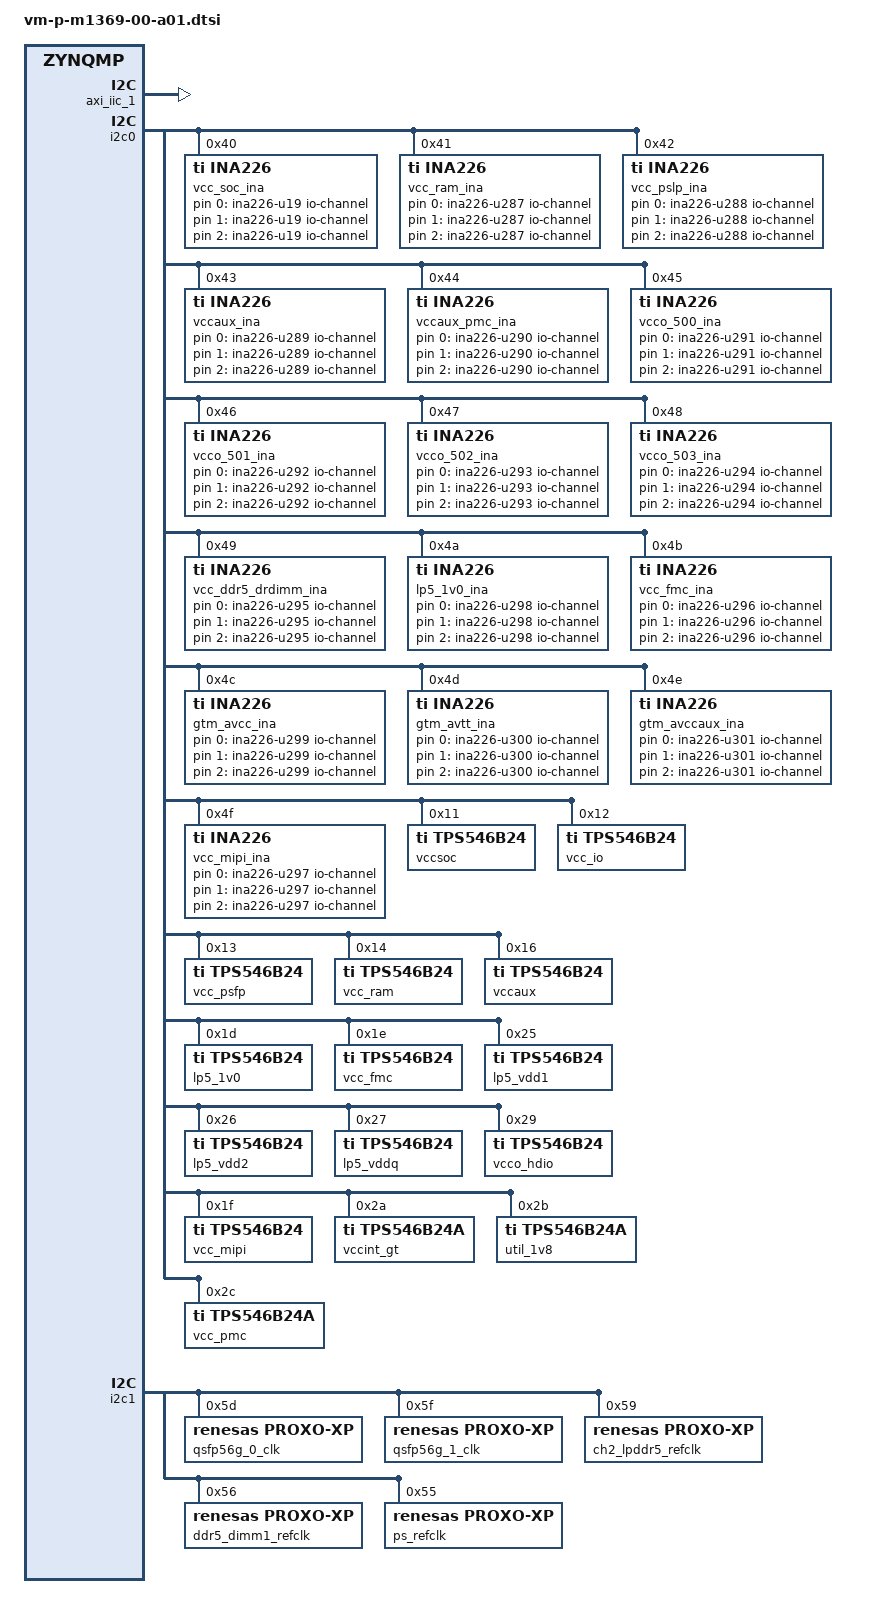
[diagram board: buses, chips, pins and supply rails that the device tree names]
// SPDX-License-Identifier: GPL-2.0
/*
 * dts file for Xilinx ZynqMP VM-P-M1369-00
 *
 * Copyright (C) 2024, Advanced Micro Devices, Inc.
 *
 * Michal Simek <michal.simek@amd.com>
 */

#include <dt-bindings/gpio/gpio.h>

/dts-v1/;
/plugin/;

/ {
    compatible = "xlnx,zynqmp-sc-vm-p-m1369-revA",
		     "xlnx,zynqmp-sc-vm-p-m1369", "xlnx,zynqmp";

    fragment@0 {
        target = <&fpga_full>;
        overlay0: __overlay__ {
            #address-cells = <2>;
            #size-cells = <2>;
	    firmware-name = "sc_l20_vnc.bit.bin";
	    resets = <&zynqmp_reset 116>;
        };
    };
    fragment@1 {
        target = <&amba>;
        overlay1: __overlay__ {
	    #address-cells = <2>;
	    #size-cells = <2>;
	    afi0: afi0 {
                compatible = "xlnx,afi-fpga";
                config-afi = < 0 0>, <1 0>, <2 0>, <3 0>, <4 0>, <5 0>, <6 0>, <7 0>, <8 0>, <9 0>, <10 0>, <11 0>, <12 0>, <13 0>, <14 0xa00>, <15 0x000>;
            };
            clocking0: clocking0 {
                #clock-cells = <0>;
                assigned-clock-rates = <96968727>;
                assigned-clocks = <&zynqmp_clk 71>;
                clock-output-names = "fabric_clk";
                clocks = <&zynqmp_clk 71>;
                compatible = "xlnx,fclk";
            };
            clocking1: clocking1 {
                #clock-cells = <0>;
                assigned-clock-rates = <266664000>;
                assigned-clocks = <&zynqmp_clk 72>;
                clock-output-names = "fabric_clk";
                clocks = <&zynqmp_clk 72>;
                compatible = "xlnx,fclk";
            };
        };
    };
    fragment@2 {
        target = <&amba>;
        overlay2: __overlay__ {
            #address-cells = <2>;
	    #size-cells = <2>;
	    axi_gpio_0: gpio@80020000 {
                #gpio-cells = <2>;
                #interrupt-cells = <2>;
                clock-names = "s_axi_aclk";
                clocks = <&zynqmp_clk 71>;
                compatible = "xlnx,axi-gpio-2.0", "xlnx,xps-gpio-1.00.a";
                gpio-controller ;
                interrupt-controller ;
                interrupt-names = "ip2intc_irpt";
                interrupt-parent = <&gic>;
                interrupts = <0 94 4>;
                reg = <0x0 0x80020000 0x0 0x10000>;
                xlnx,all-inputs = <0x0>;
                xlnx,all-inputs-2 = <0x0>;
                xlnx,all-outputs = <0x0>;
                xlnx,all-outputs-2 = <0x0>;
                xlnx,dout-default = <0x00000000>;
                xlnx,dout-default-2 = <0x00000000>;
                xlnx,gpio-width = <0x4>;
                xlnx,gpio2-width = <0x20>;
                xlnx,interrupt-present = <0x1>;
                xlnx,is-dual = <0x0>;
                xlnx,tri-default = <0xFFFFFFFF>;
                xlnx,tri-default-2 = <0xFFFFFFFF>;
		gpio-line-names = "SYSCTLR_GPIO0", "SYSCTLR_GPIO1",
					"SYSCTLR_GPIO2", "SYSCTLR_GPIO3";
            };
            axi_gpio_1: gpio@80030000 {
                #gpio-cells = <2>;
                #interrupt-cells = <2>;
                clock-names = "s_axi_aclk";
                clocks = <&zynqmp_clk 71>;
                compatible = "xlnx,axi-gpio-2.0", "xlnx,xps-gpio-1.00.a";
                gpio-controller ;
                interrupt-controller ;
                interrupt-names = "ip2intc_irpt";
                interrupt-parent = <&gic>;
                interrupts = <0 96 4>;
                reg = <0x0 0x80030000 0x0 0x10000>;
                xlnx,all-inputs = <0x0>;
                xlnx,all-inputs-2 = <0x0>;
                xlnx,all-outputs = <0x0>;
                xlnx,all-outputs-2 = <0x0>;
                xlnx,dout-default = <0x00000000>;
                xlnx,dout-default-2 = <0x00000000>;
                xlnx,gpio-width = <0x20>;
                xlnx,gpio2-width = <0x20>;
                xlnx,interrupt-present = <0x1>;
                xlnx,is-dual = <0x0>;
                xlnx,tri-default = <0xFFFFFFFF>;
                xlnx,tri-default-2 = <0xFFFFFFFF>;
		gpio-line-names = "SYSCTLR_UCD90320_RESET_B", /* 0 */
					"SYSCTLR_UCD90320_CTLR_B", /* 1 */
					"SYSCTLR_MAIN_SW_CTRL", /* 2 */
					"SYSCTLR_PMBUS_ALERT", /* 3 */
					"SYSCTLR_VCC0V85_TG", /* 4 */
					"SYSCTLR_VCCINT_EN", /* 5 */
					"SYSCTLR_VCC_SOC_EN", /* 6 */
					"SYSCTLR_VCC_RAM_EN", /* 7 */
					"SYSCTLR_VCC_PSFP_EN", /* 8 */
					"SYSCTLR_VCC_PSLP_EN", /* 9 */
					"SYSCTLR_VCC_IO_EN", /* 10 */
					"SYSCTLR_VCCAUX_EN", /* 11 */
					"SYSCTLR_VCCAUX_PMC_EN", /* 12 */
					"SYSCTLR_VCCO_500_EN", /* 13 */
					"SYSCTLR_VCCO_501_EN", /* 14 */
					"SYSCTLR_VCCO_502_EN", /* 15 */
					"SYSCTLR_VCCO_503_EN", /* 16 */
					"SYSCTLR_VCC_DDR5_RDIMM_1V1_EN", /* 17 */
					"SYSCTLR_LP5_1V0_VCCO_EN", /* 18 */
					"SYSCTLR_GTM_AVCCAUX_EN", /* 19 */
					"SYSCTLR_LP5_VDD1_1V8_EN", /* 20 */
					"SYSCTLR_LP5_VDD2_1V05_EN", "", /* 21,22 */
					"SYSCTLR_GTM_AVCC_EN", /* 23 */
					"SYSCTLR_GTM_AVTT_EN", /* 24 */
					"SYSCTLR_LP5_VDDQ_0V5_EN", /* 25 */
					"SYSCTLR_VCC_PMC_EN", /* 26 */
					"SYSCTLR_VCCINT_GT_EN", /* 27 */
					"SYSCTLR_VCC_FMC_EN", /* 28 */
					"SYSCTLR_UTIL_1V8_EN", /* 29 */
					"SYSCTLR_VCCO_HDIO_EN", /* 30 */
					"SYSCTLR_VCC_MIPI_EN"; /* 31 */
            };
	    axi_gpio_2: gpio@80040000 {
                #gpio-cells = <2>;
                #interrupt-cells = <2>;
                clock-names = "s_axi_aclk";
                clocks = <&zynqmp_clk 71>;
                compatible = "xlnx,axi-gpio-2.0", "xlnx,xps-gpio-1.00.a";
                gpio-controller ;
                interrupt-controller ;
                interrupt-names = "ip2intc_irpt";
                interrupt-parent = <&gic>;
                interrupts = <0 95 4>;
                reg = <0x0 0x80040000 0x0 0x10000>;
                xlnx,all-inputs = <0x0>;
                xlnx,all-inputs-2 = <0x0>;
                xlnx,all-outputs = <0x0>;
                xlnx,all-outputs-2 = <0x0>;
                xlnx,dout-default = <0x00000000>;
                xlnx,dout-default-2 = <0x00000000>;
                xlnx,gpio-width = <0x1a>;
                xlnx,gpio2-width = <0x20>;
                xlnx,interrupt-present = <0x1>;
                xlnx,is-dual = <0x0>;
                xlnx,tri-default = <0xFFFFFFFF>;
                xlnx,tri-default-2 = <0xFFFFFFFF>;
		gpio-line-names = "SYSCTLR_VERSAL_MODE0", /* 0 */
					"SYSCTLR_VERSAL_MODE1", /* 1 */
					"SYSCTLR_VERSAL_MODE2", /* 2 */
					"SYSCTLR_VERSAL_MODE3", /* 3 */
					"SYSCTLR_JTAG_S0", /* 4 */
					"SYSCTLR_JTAG_S1", /* 5 */
					"SYSCTLR_POR_B_LS", /* 6 */
					"SYSCTLR_VERSAL_MODE3_READBACK", /* 7 */
					"SYSCTLR_VERSAL_MODE2_READBACK", /* 8 */
					"SYSCTLR_VERSAL_MODE1_READBACK", /* 9 */
					"SYSCTLR_VERSAL_MODE0_READBACK", /* 10 */
					"SYSCTLR_VERSAL_POR_B_READBACK", /* 11 */
					"SYSCTLR_VERSAL_ERROR_OUT_READBACK", /* 12 */
					"BOARD_EEPROM_WP", /* 13 */
					"SYSCTLR_I2C_PMC_EN", /* 14 */
					"SYSCTLR_I2C_MAIN_EN", /* 15 */
					"FMCP1_FMC_PRSNT_M2C_B", "", /* 16,17 */
					"TI_CABLE_B", /* 18 */
					"DC_SYS_CTRL0", /* 19 */
					"DC_SYS_CTRL1", /* 20 */
					"DC_SYS_CTRL2", /* 21 */
					"DC_SYS_CTRL3", /* 22 */
					"DC_SYS_CTRL4", /* 23 */
					"DC_SYS_CTRL5_POR_B_SW2", /* 24 */
					"DC_PRSNT"; /* 25 */
            };
            axi_iic_1: i2c@80060000 {
                #address-cells = <1>;
                #size-cells = <0>;
                clock-names = "s_axi_aclk";
                clocks = <&zynqmp_clk 71>;
                compatible = "xlnx,axi-iic-2.1", "xlnx,xps-iic-2.00.a";
                interrupt-names = "iic2intc_irpt";
                interrupt-parent = <&gic>;
                interrupts = <0 92 4>;
                reg = <0x0 0x80060000 0x0 0x10000>;
            };
	    debug_bridge_0: debug_bridge@80010000 {
                clock-names = "s_axi_aclk";
                clocks = <&zynqmp_clk 71>;
                compatible = "xlnx,debug-bridge-3.0", "generic-uio";
                reg = <0x0 0x80010000 0x0 0x10000>;
                xlnx,bscan-mux = <0x1>;
                xlnx,build-revision = <0x0>;
                xlnx,chip-id = <0x0>;
                xlnx,clk-input-freq-hz = <0x11e1a300>;
                xlnx,core-major-ver = <0x1>;
                xlnx,core-minor-alpha-ver = <0x61>;
                xlnx,core-minor-ver = <0x0>;
                xlnx,core-type = <0x1>;
                xlnx,dclk-has-reset = <0x0>;
                xlnx,debug-mode = <0x3>;
                xlnx,design-type = <0x0>;
                xlnx,device-family = <0x0>;
                xlnx,en-bscanid-vec = "false";
                xlnx,en-int-sim = <0x1>;
                xlnx,en-passthrough = <0x0>;
                xlnx,enable-clk-divider = "false";
                xlnx,fifo-style = "SUBCORE";
                xlnx,ir-id-instr = <0x0>;
                xlnx,ir-user1-instr = <0x0>;
                xlnx,ir-width = <0x0>;
                xlnx,major-version = <0xe>;
                xlnx,master-intf-type = <0x1>;
                xlnx,minor-version = <0x1>;
                xlnx,num-bs-master = <0x0>;
                xlnx,pcie-ext-cfg-base-addr = <0x400>;
                xlnx,pcie-ext-cfg-next-ptr = <0x000>;
                xlnx,pcie-ext-cfg-vsec-id = <0x0008>;
                xlnx,pcie-ext-cfg-vsec-length = <0x020>;
                xlnx,pcie-ext-cfg-vsec-rev-id = <0x0>;
                xlnx,tck-clock-ratio = <0x8>;
                xlnx,two-prim-mode = "false";
                xlnx,use-bufr = <0x0>;
                xlnx,use-ext-bscan = "true";
                xlnx,use-softbscan = <0x1>;
                xlnx,use-startup-clk = "false";
                xlnx,user-scan-chain = <0x1>;
                xlnx,xsdb-num-slaves = <0x0>;
                xlnx,xvc-hw-id = <0x0001>;
                xlnx,xvc-sw-id = <0x0001>;
            };
	    fan_tach_0: fan_tach@80080000 {
                clock-names = "clk";
                clocks = <&zynqmp_clk 71>;
                compatible = "xlnx,fan-tach-1.0";
                interrupt-names = "interrupt_fan_fail", "interrupt_pwm_det";
                interrupt-parent = <&gic>;
                interrupts = <0 89 4 0 90 4>;
                reg = <0x0 0x80080000 0x0 0x1000 0x0 0x80081000 0x0 0x1000 0x0 0x80082000 0x0 0x1000>;
	    };
	    hsdp_axi_bram_ctrl_1: axi_bram_ctrl@a0020000 {
                clock-names = "s_axi_aclk";
                clocks = <&zynqmp_clk 72>;
                compatible = "xlnx,axi-bram-ctrl-4.1";
                reg = <0x0 0xa0020000 0x0 0x4000>;
                xlnx,bram-addr-width = <0xa>;
                xlnx,bram-inst-mode = "EXTERNAL";
                xlnx,ecc = <0x0>;
                xlnx,ecc-onoff-reset-value = <0x0>;
                xlnx,ecc-type = <0x0>;
                xlnx,fault-inject = <0x0>;
                xlnx,memory-depth = <0x400>;
                xlnx,rd-cmd-optimization = <0x0>;
                xlnx,read-latency = <0x1>;
                xlnx,s-axi-ctrl-addr-width = <0x20>;
                xlnx,s-axi-ctrl-data-width = <0x20>;
                xlnx,s-axi-id-width = <0x1>;
                xlnx,s-axi-supports-narrow-burst = <0x0>;
                xlnx,single-port-bram = <0x1>;
	    };
	    hsdp_axi_dma_0: dma@a0000000 {
                #dma-cells = <1>;
                clock-names = "m_axi_mm2s_aclk", "m_axi_s2mm_aclk", "m_axi_sg_aclk", "s_axi_lite_aclk";
                clocks = <&zynqmp_clk 72>, <&zynqmp_clk 72>, <&zynqmp_clk 72>, <&zynqmp_clk 72>;
                compatible = "xlnx,axi-dma-7.1", "xlnx,axi-dma-1.00.a";
                interrupt-names = "mm2s_introut", "s2mm_introut";
                interrupt-parent = <&gic>;
                interrupts = <0 104 4 0 105 4>;
                reg = <0x0 0xa0000000 0x0 0x10000>;
                xlnx,addrwidth = <0x30>;
                xlnx,include-sg ;
                xlnx,sg-length-width = <0x1a>;
                dma-channel@a0000000 {
                        compatible = "xlnx,axi-dma-mm2s-channel";
                        dma-channels = <0x1>;
                        interrupts = <0 104 4>;
                        xlnx,datawidth = <0x80>;
                        xlnx,device-id = <0x0>;
                };
                dma-channel@a0000030 {
                        compatible = "xlnx,axi-dma-s2mm-channel";
                        dma-channels = <0x1>;
                        interrupts = <0 105 4>;
                        xlnx,datawidth = <0x40>;
                        xlnx,device-id = <0x0>;
                };
            };
            hsdp_hsdp_ctl_stat_regs: hsdp_ctl_v1_0@a0010000 {
                clock-names = "s00_axi_hsdp_aclk";
                clocks = <&zynqmp_clk 72>;
                compatible = "xlnx,hsdp-ctl-v1-0-1.0";
                reg = <0x0 0xa0010000 0x0 0x10000>;
                xlnx,prog-empty-cnt-width = <0x20>;
                xlnx,s00-axi-hsdp-addr-width = <0x6>;
                xlnx,s00-axi-hsdp-data-width = <0x20>;
                xlnx,tlast-prog-width = <0x17>;
            };
	};
    };

     fragment@3 {
	target-path = "/";
        __overlay__ {
            #address-cells = <2>;
            #size-cells = <2>;

	    sys_clk_0 {
		status = "okay";
		compatible = "xlnx,fclk";
		clocks = <&qsfp56g_0_clk 0>;
	    };
	    sys_clk_1 {
		status = "okay";
		compatible = "xlnx,fclk";
		clocks = <&qsfp56g_1_clk 0>;
	    };
	    sys_clk_2 {
		status = "okay";
		compatible = "xlnx,fclk";
		clocks = <&ch2_lpddr5_refclk 0>;
	    };
	    sys_clk_3 {
		status = "okay";
		compatible = "xlnx,fclk";
		clocks = <&ddr5_dimm1_refclk 0>;
	    };
	    sys_clk_4 {
		status = "okay";
		compatible = "xlnx,fclk";
		clocks = <&ps_refclk 0>;
	    };
	    ina226-u19 {
		compatible = "iio-hwmon";
		io-channels = <&vcc_soc_ina 0>, <&vcc_soc_ina 1>, <&vcc_soc_ina 2>;
	    };
	    ina226-u287 {
		compatible = "iio-hwmon";
		io-channels = <&vcc_ram_ina 0>, <&vcc_ram_ina 1>, <&vcc_ram_ina 2>;
	    };
	    ina226-u288 {
		compatible = "iio-hwmon";
		io-channels = <&vcc_pslp_ina 0>, <&vcc_pslp_ina 1>, <&vcc_pslp_ina 2>;
	    };
	    ina226-u289 {
		compatible = "iio-hwmon";
		io-channels = <&vccaux_ina 0>, <&vccaux_ina 1>, <&vccaux_ina 2>;
	    };
	    ina226-u290 {
		compatible = "iio-hwmon";
		io-channels = <&vccaux_pmc_ina 0>, <&vccaux_pmc_ina 1>, <&vccaux_pmc_ina 2>;
	    };
	    ina226-u291 {
		compatible = "iio-hwmon";
		io-channels = <&vcco_500_ina 0>, <&vcco_500_ina 1>, <&vcco_500_ina 2>;
	    };
	    ina226-u292 {
		compatible = "iio-hwmon";
		io-channels = <&vcco_501_ina 0>, <&vcco_501_ina 1>, <&vcco_501_ina 2>;
	    };
	    ina226-u293 {
		compatible = "iio-hwmon";
		io-channels = <&vcco_502_ina 0>, <&vcco_502_ina 1>, <&vcco_502_ina 2>;
	    };
	    ina226-u294 {
		compatible = "iio-hwmon";
		io-channels = <&vcco_503_ina 0>, <&vcco_503_ina 1>, <&vcco_503_ina 2>;
	    };
	    ina226-u295 {
		compatible = "iio-hwmon";
		io-channels = <&vcc_ddr5_drdimm_ina 0>, <&vcc_ddr5_drdimm_ina 1>, <&vcc_ddr5_drdimm_ina 2>;
	    };
	    ina226-u298 {
		compatible = "iio-hwmon";
		io-channels = <&lp5_1v0_ina 0>, <&lp5_1v0_ina 1>, <&lp5_1v0_ina 2>;
	    };
	    ina226-u296 {
		compatible = "iio-hwmon";
		io-channels = <&vcc_fmc_ina 0>, <&vcc_fmc_ina 1>, <&vcc_fmc_ina 2>;
	    };
	    ina226-u299 {
		compatible = "iio-hwmon";
		io-channels = <&gtm_avcc_ina 0>, <&gtm_avcc_ina 1>, <&gtm_avcc_ina 2>;
	    };
	    ina226-u300 {
		compatible = "iio-hwmon";
		io-channels = <&gtm_avtt_ina 0>, <&gtm_avtt_ina 1>, <&gtm_avtt_ina 2>;
	    };
	    ina226-u301 {
		compatible = "iio-hwmon";
		io-channels = <&gtm_avccaux_ina 0>, <&gtm_avccaux_ina 1>, <&gtm_avccaux_ina 2>;
	    };
	    ina226-u297 {
		compatible = "iio-hwmon";
		io-channels = <&vcc_mipi_ina 0>, <&vcc_mipi_ina 1>, <&vcc_mipi_ina 2>;
	    };
	};
    };

    fragment@4 {
        target = <&i2c0>;
        __overlay__ {
	    #address-cells = <1>;
	    #size-cells = <0>;

	    /* u134 tps544b25 but connected to J80 connector */
	    /* u48/IMx3112/0x77 -  1:2 multiplexer - also accessed from Versal NET */
	    /* Connection DDR5_UDIMM - SPD can be from 0x50-0x57 */
	    /* FIXME gpio should handle SYSCTLR_PMBUS_ALERT and also INA226_PMBUS_ALERT */
	    /* Access to i2c_pmc bus via u49 with OE j100 or via SYSCTLR_I2C_PMC_EN */

	    /* ina226_pmbus - J103 - disable INA226_PMBUS */
	    vcc_soc_ina: power-monitor@40 { /* u19 */
		compatible = "ti,ina226";
		#io-channel-cells = <1>;
		reg = <0x40>;
		shunt-resistor = <1000>; /* R222 */
	    };

	    vcc_ram_ina: power-monitor@41 { /* u287 */
		compatible = "ti,ina226";
		#io-channel-cells = <1>;
		reg = <0x41>;
		shunt-resistor = <1000>; /* R32981 */
	    };

	    vcc_pslp_ina: power-monitor@42 { /* u288 */
		compatible = "ti,ina226";
		#io-channel-cells = <1>;
		reg = <0x42>;
		shunt-resistor = <1000>; /* R32984 */
	    };

	    vccaux_ina: power-monitor@43 { /* u289 */
		compatible = "ti,ina226";
		#io-channel-cells = <1>;
		reg = <0x43>;
		shunt-resistor = <1000>; /* R32987 */
	    };

	    vccaux_pmc_ina: power-monitor@44 { /* u290 */
		compatible = "ti,ina226";
		#io-channel-cells = <1>;
		reg = <0x44>;
		shunt-resistor = <1000>; /* R32990 */
	    };

	    vcco_500_ina: power-monitor@45 { /* u291 */
		compatible = "ti,ina226";
		#io-channel-cells = <1>;
		reg = <0x45>;
		shunt-resistor = <1000>; /* R32993 */
	    };

	    vcco_501_ina: power-monitor@46 { /* u292 */
		compatible = "ti,ina226";
		#io-channel-cells = <1>;
		reg = <0x46>;
		shunt-resistor = <1000>; /* R32996 */
	    };

	    vcco_502_ina: power-monitor@47 { /* u293 */
		compatible = "ti,ina226";
		#io-channel-cells = <1>;
		reg = <0x47>;
		shunt-resistor = <1000>; /* R32999 */
	    };

	    vcco_503_ina: power-monitor@48 { /* u294 */
		compatible = "ti,ina226";
		#io-channel-cells = <1>;
		reg = <0x48>;
		shunt-resistor = <1000>; /* R33002 */
	    };

	    vcc_ddr5_drdimm_ina: power-monitor@49 { /* u295 */
		compatible = "ti,ina226";
		#io-channel-cells = <1>;
		reg = <0x49>;
		shunt-resistor = <1000>; /* R33005 */
	    };

	    lp5_1v0_ina: power-monitor@4a { /* u298 */
		compatible = "ti,ina226";
		#io-channel-cells = <1>;
		reg = <0x4a>;
		shunt-resistor = <1000>; /* R33014 */
	    };

	    vcc_fmc_ina: power-monitor@4b { /* u296 */
		compatible = "ti,ina226";
		#io-channel-cells = <1>;
		reg = <0x4b>;
		shunt-resistor = <1000>; /* R33008 */
	    };

	    gtm_avcc_ina: power-monitor@4c { /* u299 */
		compatible = "ti,ina226";
		#io-channel-cells = <1>;
		reg = <0x4c>;
		shunt-resistor = <1000>; /* R33017 */
	    };

	    gtm_avtt_ina: power-monitor@4d { /* u300 */
		compatible = "ti,ina226";
		#io-channel-cells = <1>;
		reg = <0x4d>;
		shunt-resistor = <1000>; /* R33020 */
	    };

	    gtm_avccaux_ina: power-monitor@4e { /* u301 */
		compatible = "ti,ina226";
		#io-channel-cells = <1>;
		reg = <0x4e>;
		shunt-resistor = <1000>; /* R33023 */
	    };

	    vcc_mipi_ina: power-monitor@4f { /* u297 */
		compatible = "ti,ina226";
		#io-channel-cells = <1>;
		reg = <0x4f>;
		shunt-resistor = <1000>; /* R33011 */
	    };

	    /* pmbus - J105 - disable main PMBUS - also going to j102 */
	    /* pmbus via U62 as ext_pmbus */
	    vccsoc: regulator@11 { /* u20 */
		compatible = "ti,tps546b24";
		reg = <0x11>;
	    };

	    vcc_io: regulator@12 { /* u21 */
		compatible = "ti,tps546b24";
		reg = <0x12>;
	    };

	    vcc_psfp: regulator@13 { /* u22 */
		compatible = "ti,tps546b24";
		reg = <0x13>;
	    };

	    vcc_ram: regulator@14 { /* u23 */
		compatible = "ti,tps546b24";
		reg = <0x14>;
	    };

	    vccaux: regulator@16 { /* u25 */
		compatible = "ti,tps546b24";
		reg = <0x16>;
	    };

	    lp5_1v0: regulator@1d { /* u32 */
		compatible = "ti,tps546b24";
		reg = <0x1d>;
	    };

	    vcc_fmc: regulator@1e { /* u33 */
		compatible = "ti,tps546b24";
		reg = <0x1e>;
	    };

	    lp5_vdd1: regulator@25 { /* u40 */
		compatible = "ti,tps546b24";
		reg = <0x25>;
	    };

	    lp5_vdd2: regulator@26 { /* u41 */
		compatible = "ti,tps546b24";
		reg = <0x26>;
	    };

	    lp5_vddq: regulator@27 { /* u42 */
		compatible = "ti,tps546b24";
		reg = <0x27>;
	    };

	    vcco_hdio: regulator@29 { /* u43 */
		compatible = "ti,tps546b24";
		reg = <0x29>;
	    };

	    vcc_mipi: regulator@1f { /* u47 */
		compatible = "ti,tps546b24";
		reg = <0x1f>;
	    };

	    /* connected via J425 connector
	     ucd90320: power-sequencer@73 { // u16
		compatible = "ti,ucd90320";
		reg = <0x73>;
	    };*/

	    /* via pmbus */
	    vccint_gt: regulator@2a { /* u44 */
		compatible = "ti,tps546b24a";
		reg = <0x2a>;
	    };

	    util_1v8: regulator@2b { /* u1839 */
		compatible = "ti,tps546b24a";
		reg = <0x2b>;
	    };

	    vcc_pmc: regulator@2c { /* u46 */
		compatible = "ti,tps546b24a";
		reg = <0x2c>;
	    };
	};
    };

    fragment@5 {
        target = <&i2c1>;
        __overlay__ {
	    #address-cells = <1>;
	    #size-cells = <0>;

	    /* u97 eeprom at 0x54 described in sc-revB - WP protection via BOARD_EEPROM_WP - J1801 */

	    /* i2c_main_1 - u72 - j108 - disable translation, add 8 */
	    /* J133 - OE for u91@55 + 8 - 161,132813MHz - QSFP56G_0 */
	    qsfp56g_0_clk: clock-controller@5d {
		compatible = "renesas,proxo-xp";
		reg = <0x5d>;
		#clock-cells = <0>;
		clock-output-names = "qsfp56g_0_clk";
	    };

	    /* J134 - OE for u92@57 + 8 - 322,265625MHz - QSFP56G_1 */
	    qsfp56g_1_clk: clock-controller@5f {
		compatible = "renesas,proxo-xp";
		reg = <0x5f>;
		#clock-cells = <0>;
		clock-output-names = "qsfp56g_1_clk";
	    };

	    /* i2c_main_2 - u74 - j110 - disable translation, add 9 */
	    /* J210 - OE for u164@50 + 9 - 320MHz - CH2_LP5 */
	    ch2_lpddr5_refclk: clock-controller@59 {
		compatible = "renesas,proxo-xp";
		reg = <0x59>;
		#clock-cells = <0>;
		clock-output-names = "ch2_lpddr5_refclk";
	    };

	    /* i2c_main_3 - u76 - j112 - disable translation, add 6 */
	    /* J231 - OE for u165@50 + 6  - 320MHz - _RDIMM */
	    ddr5_dimm1_refclk: clock-controller@56 {
		compatible = "renesas,proxo-xp";
		reg = <0x56>;
		#clock-cells = <0>;
		clock-output-names = "ddr5_udimm_refclk";
	    };

	    /* i2c_main_4 - u73 - j109 - disable translation, add 5 */
	    /* J117 - OE for u82@50 + 5 - 33,3333MHz - PS_REFCLK */
	    ps_refclk: clock-controller@55 {
		compatible = "renesas,proxo-xp";
		reg = <0x55>;
		#clock-cells = <0>;
		clock-output-names = "ps_refclk";
	    };

	    /* J71 - selection to LP_I2C_SCL_J or LP_I2C_PMC_SCL_J */
	    /* J70 - selection to LP_I2C_SDA_J or LP_I2C_PMC_SDA_J */
	    /* this should be SW controlable too */

	};
    };
};
